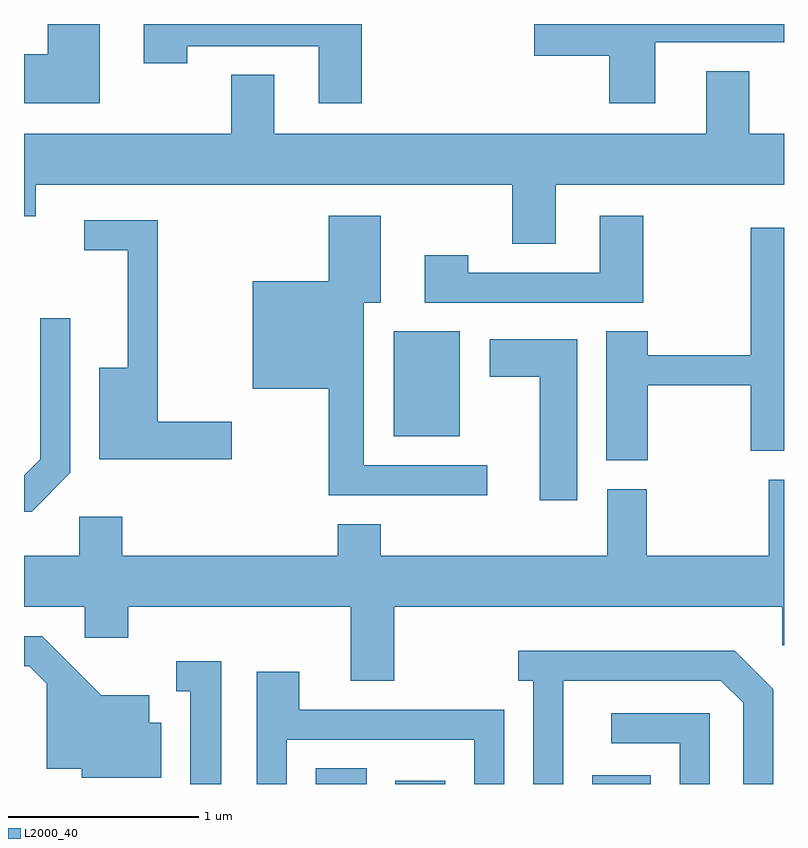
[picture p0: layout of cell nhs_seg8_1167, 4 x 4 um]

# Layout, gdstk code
import gdstk
lib = gdstk.Library(unit=1e-6, precision=1e-09)
def R(c, l, rs):  # rectangles x0, y0, x1, y1
    for r in rs: c.add(gdstk.rectangle(r[:2], r[2:], *l))
def P(c, l, *ps):  # polygons
    for p in ps: c.add(gdstk.Polygon(p, *l))
L2000_40 = (2000, 40)

nhs_seg8_1167 = lib.new_cell('nhs_seg8_1167')
R(nhs_seg8_1167, L2000_40, [(221.146,1864.342,221.414,1864.424), (221.566,1864.342,221.829,1864.359), (222.601,1864.342,222.909,1864.389), (221.556,1866.171,221.904,1866.724)])
P(nhs_seg8_1167, L2000_40, [(220.009,1868.342),(219.736,1868.342),(219.736,1868.184),(219.611,1868.184),(219.611,1867.926),(220.009,1867.926)],
  [(222.934,1868.246),(223.611,1868.246),(223.611,1868.342),(222.296,1868.342),(222.296,1868.176),(222.691,1868.176),(222.691,1867.926),(222.934,1867.926)],
  [(221.389,1868.342),(220.241,1868.342),(220.241,1868.136),(220.469,1868.136),(220.469,1868.226),(221.161,1868.226),(221.161,1867.926),(221.389,1867.926)],
  [(220.701,1868.074),(220.701,1867.764),(219.611,1867.764),(219.611,1867.331),(219.674,1867.331),(219.674,1867.496),(222.181,1867.496),(222.181,1867.186),(222.409,1867.186),(222.409,1867.496),(223.611,1867.496),(223.611,1867.764),(223.429,1867.764),(223.429,1868.094),(223.201,1868.094),(223.201,1867.764),(220.929,1867.764),(220.929,1868.074)],
  [(222.869,1867.334),(222.641,1867.334),(222.641,1867.034),(221.949,1867.034),(221.949,1867.124),(221.721,1867.124),(221.721,1866.876),(222.869,1866.876)],
  [(222.048,1866.019),(221.399,1866.019),(221.399,1866.876),(221.489,1866.876),(221.489,1867.334),(221.216,1867.334),(221.216,1866.989),(220.816,1866.989),(220.816,1866.421),(221.216,1866.421),(221.216,1865.861),(222.048,1865.861)],
  [(220.704,1866.249),(220.314,1866.249),(220.314,1867.309),(219.928,1867.309),(219.928,1867.151),(220.156,1867.151),(220.156,1866.534),(220.006,1866.534),(220.006,1866.051),(220.704,1866.051)],
  [(222.894,1866.441),(223.436,1866.441),(223.436,1866.096),(223.611,1866.096),(223.611,1867.269),(223.436,1867.269),(223.436,1866.599),(222.894,1866.599),(222.894,1866.724),(222.676,1866.724),(222.676,1866.046),(222.894,1866.046)],
  [(219.854,1865.979),(219.854,1866.793),(219.696,1866.793),(219.696,1866.052),(219.611,1865.966),(219.611,1865.776),(219.652,1865.776)],
  [(222.524,1866.684),(222.061,1866.684),(222.061,1866.486),(222.326,1866.486),(222.326,1865.836),(222.524,1865.836)],
  [(221.559,1865.276),(223.601,1865.276),(223.601,1865.071),(223.611,1865.071),(223.611,1865.944),(223.531,1865.944),(223.531,1865.544),(222.889,1865.544),(222.889,1865.894),(222.681,1865.894),(222.681,1865.544),(221.489,1865.544),(221.489,1865.709),(221.261,1865.709),(221.261,1865.544),(220.129,1865.544),(220.129,1865.749),(219.901,1865.749),(219.901,1865.544),(219.611,1865.544),(219.611,1865.276),(219.931,1865.276),(219.931,1865.111),(220.159,1865.111),(220.159,1865.276),(221.331,1865.276),(221.331,1864.886),(221.559,1864.886)],
  [(220.334,1864.664),(220.269,1864.664),(220.269,1864.809),(220.017,1864.809),(219.707,1865.119),(219.611,1865.119),(219.611,1864.961),(219.639,1864.961),(219.731,1864.869),(219.731,1864.421),(219.916,1864.421),(219.916,1864.376),(220.334,1864.376)],
  [(222.449,1864.886),(223.279,1864.886),(223.396,1864.769),(223.396,1864.342),(223.554,1864.342),(223.554,1864.842),(223.352,1865.044),(222.213,1865.044),(222.213,1864.886),(222.291,1864.886),(222.291,1864.342),(222.449,1864.342)],
  [(220.649,1864.989),(220.413,1864.989),(220.413,1864.831),(220.486,1864.831),(220.486,1864.342),(220.649,1864.342)],
  [(220.994,1864.576),(221.981,1864.576),(221.981,1864.342),(222.139,1864.342),(222.139,1864.734),(221.059,1864.734),(221.059,1864.934),(220.836,1864.934),(220.836,1864.342),(220.994,1864.342)],
  [(223.219,1864.714),(222.703,1864.714),(222.703,1864.556),(223.061,1864.556),(223.061,1864.342),(223.219,1864.342)])

lib.write_gds('nhs_seg8_1167.gds')
